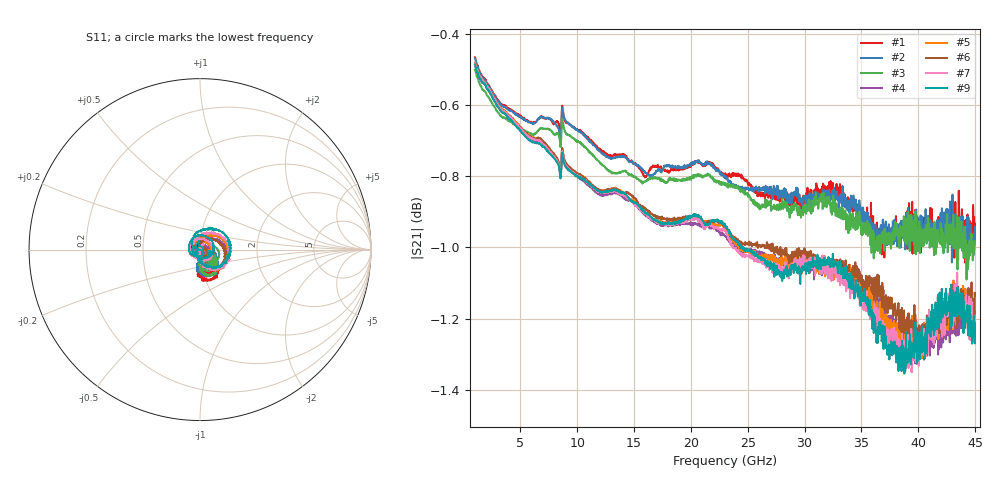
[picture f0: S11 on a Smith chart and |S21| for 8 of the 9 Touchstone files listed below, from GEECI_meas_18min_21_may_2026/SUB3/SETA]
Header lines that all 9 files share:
!Keysight Technologies,N5247B,MY61255062,A.19.80.06
!Correction: S11(Cdelta 2-Port  )
!S21(Cdelta 2-Port  )
!S12(Cdelta 2-Port  )
!S22(Cdelta 2-Port  )
!S2P File: Measurements: S11, S21, S12, S22:
# Hz S  dB  R 50
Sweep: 1 GHz to 45 GHz
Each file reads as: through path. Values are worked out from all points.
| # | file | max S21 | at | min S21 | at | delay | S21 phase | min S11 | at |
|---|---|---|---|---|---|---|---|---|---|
| 1 | thru1.s2p | -0.47 dB | 1 GHz | -1.0 dB | 44.15 GHz | 50 ps | -54 deg at 23 GHz | -33.6 dB | 11.29 GHz |
| 2 | thru2.s2p | -0.47 dB | 1 GHz | -1.0 dB | 42.97 GHz | 50.1 ps | -56 deg at 23 GHz | -35.1 dB | 11.01 GHz |
| 3 | thru3.s2p | -0.50 dB | 1 GHz | -1.1 dB | 44.26 GHz | 50.1 ps | -55 deg at 23 GHz | -32.5 dB | 11.2 GHz |
| 4 | tn1_60.5.s2p | -0.49 dB | 1 GHz | -1.3 dB | 39.72 GHz | 55.8 ps | -103 deg at 23 GHz | -36.0 dB | 17.97 GHz |
| 5 | tn2_100.5.s2p | -0.48 dB | 1 GHz | -1.3 dB | 39.99 GHz | 55.8 ps | -104 deg at 23 GHz | -47.3 dB | 18.24 GHz |
| 6 | tn3_196.5.s2p | -0.48 dB | 1 GHz | -1.3 dB | 39.97 GHz | 55.7 ps | -103 deg at 23 GHz | -36.6 dB | 34.91 GHz |
| 7 | tn4_60,5.s2p | -0.48 dB | 1 GHz | -1.4 dB | 39.42 GHz | 56 ps | -105 deg at 23 GHz | -52.8 dB | 18.24 GHz |
| 8 | tn5_100.5.s2p | -0.48 dB | 1 GHz | -1.4 dB | 40.24 GHz | 56 ps | -106 deg at 23 GHz | -61.6 dB | 9.277 GHz |
| 9 | tn6_196.5.s2p | -0.49 dB | 1 GHz | -1.4 dB | 38.78 GHz | 56.4 ps | -108 deg at 23 GHz | -65.4 dB | 9.195 GHz |
